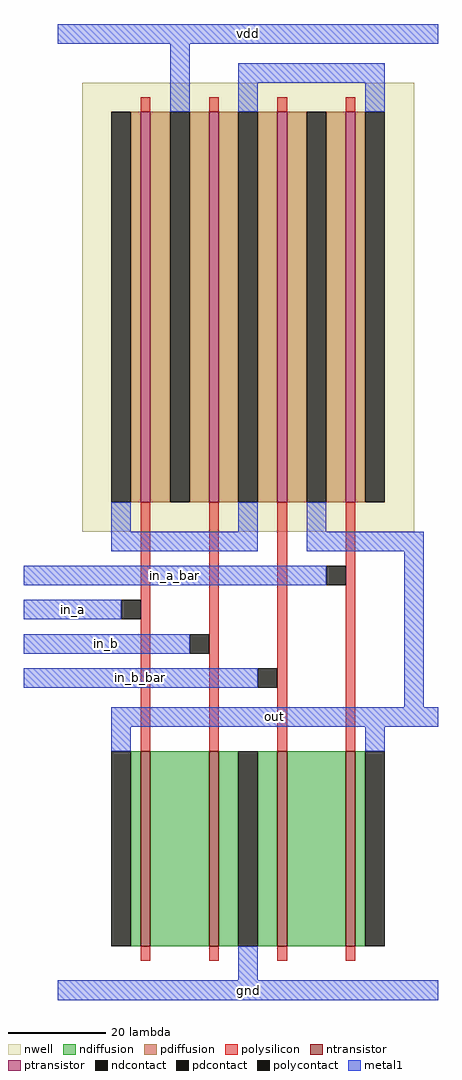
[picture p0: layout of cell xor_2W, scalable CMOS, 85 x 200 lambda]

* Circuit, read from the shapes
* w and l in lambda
.subckt xor_2W gnd in_a in_a_bar in_b in_b_bar out vdd
M1 n1 in_a out VSUBS nfet w=40 l=2
M2 gnd in_b n1 VSUBS nfet w=40 l=2
M3 n2 in_b_bar gnd VSUBS nfet w=40 l=2
M4 out in_a_bar n2 VSUBS nfet w=40 l=2
M5 vdd in_a n3 n4 pfet w=80 l=2
M6 n3 in_b vdd n4 pfet w=80 l=2
M7 out in_b_bar n3 n4 pfet w=80 l=2
M8 n3 in_a_bar out n4 pfet w=80 l=2
.ends

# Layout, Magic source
magic
tech scmos
<< nwell >>
rect -22 -15 46 77
<< ntransistor >>
rect -10 -100 -8 -60
rect 4 -100 6 -60
rect 18 -100 20 -60
rect 32 -100 34 -60
<< ptransistor >>
rect -10 -9 -8 71
rect 4 -9 6 71
rect 18 -9 20 71
rect 32 -9 34 71
<< ndiffusion >>
rect -12 -100 -10 -60
rect -8 -100 4 -60
rect 6 -100 10 -60
rect 14 -100 18 -60
rect 20 -100 32 -60
rect 34 -100 36 -60
<< pdiffusion >>
rect -12 -9 -10 71
rect -8 -9 -4 71
rect 0 -9 4 71
rect 6 -9 10 71
rect 14 -9 18 71
rect 20 -9 24 71
rect 28 -9 32 71
rect 34 -9 36 71
<< ndcontact >>
rect -16 -100 -12 -60
rect 10 -100 14 -60
rect 36 -100 40 -60
<< pdcontact >>
rect -16 -9 -12 71
rect -4 -9 0 71
rect 10 -9 14 71
rect 24 -9 28 71
rect 36 -9 40 71
<< polysilicon >>
rect -10 71 -8 74
rect 4 71 6 74
rect 18 71 20 74
rect 32 71 34 74
rect -10 -60 -8 -9
rect 4 -60 6 -9
rect 18 -60 20 -9
rect 32 -60 34 -9
rect -10 -103 -8 -100
rect 4 -103 6 -100
rect 18 -103 20 -100
rect 32 -103 34 -100
<< polycontact >>
rect -14 -33 -10 -29
rect 0 -40 4 -36
rect 14 -47 18 -43
rect 28 -26 32 -22
<< metal1 >>
rect -27 85 51 89
rect -4 71 0 85
rect 10 77 40 81
rect 10 71 14 77
rect 36 71 40 77
rect -16 -15 -12 -9
rect 10 -15 14 -9
rect -16 -19 14 -15
rect 24 -15 28 -9
rect 24 -19 48 -15
rect -34 -26 28 -22
rect -34 -33 -14 -29
rect -34 -40 0 -36
rect -34 -47 14 -43
rect 44 -51 48 -19
rect -16 -55 51 -51
rect -16 -60 -12 -55
rect 36 -60 40 -55
rect 10 -107 14 -100
rect -27 -111 51 -107
<< labels >>
rlabel metal1 -27 -111 51 -107 1 gnd
rlabel metal1 -27 85 51 89 5 vdd
rlabel metal1 -16 -55 51 -51 1 out
rlabel metal1 -34 -26 28 -22 1 in_a_bar
rlabel metal1 -34 -33 -14 -29 1 in_a
rlabel metal1 -34 -40 0 -36 1 in_b
rlabel metal1 -34 -47 14 -43 1 in_b_bar
<< end >>
